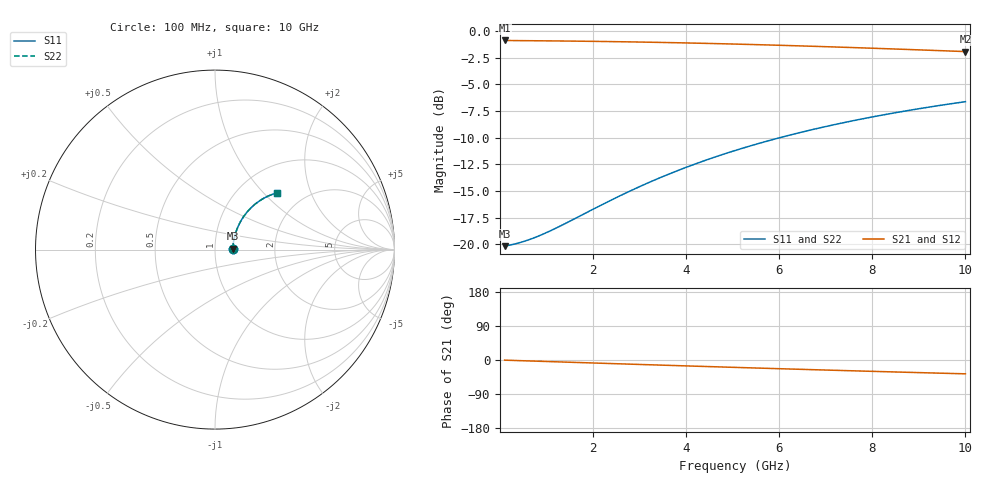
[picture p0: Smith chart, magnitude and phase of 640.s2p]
# Hz S RI R 50.00
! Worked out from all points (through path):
!   100 points, 100 MHz to 10 GHz, reference 50 ohm
!   highest |S21| = -0.90 dB at 100 MHz (marker M1); lowest = -1.9 dB at 10 GHz (marker M2)
!   group delay of S21, straight-line fit = 10.2 ps
!   lowest |S11| = -20.2 dB at 100 MHz (marker M3), VSWR 1.22, Z = 60.9 + j0.572 ohm
!   |S11| at or under -10 dB: start of sweep to 6.018 GHz
!   |S22| runs from -20.2 to -6.6 dB; largest |S21 - S12| = 0
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1e8  0.098 0.00465  0.902 -0.00623  0.902 -0.00623  0.098 0.00465
3e8  0.0992 0.0139  0.9008 -0.0187  0.9008 -0.0187  0.0992 0.0139
5e8  0.1004 0.0231  0.8996 -0.0311  0.8996 -0.0311  0.1004 0.0231
8e8  0.1023 0.0369  0.8976 -0.0496  0.8976 -0.0496  0.1023 0.0369
1e9  0.1038 0.046  0.8961 -0.0618  0.8961 -0.0618  0.1038 0.046
1.2e9  0.1055 0.0551  0.8943 -0.0741  0.8943 -0.0741  0.1055 0.0551
1.8e9  0.1119 0.0819  0.8876 -0.1103  0.8876 -0.1103  0.1119 0.0819
2.3e9  0.1188 0.1036  0.8805 -0.14  0.8805 -0.14  0.1188 0.1036
2.7e9  0.1252 0.1205  0.8738 -0.1633  0.8738 -0.1633  0.1252 0.1205
3.1e9  0.1325 0.137  0.8662 -0.1861  0.8662 -0.1861  0.1325 0.137
3.4e9  0.1385 0.149  0.8599 -0.2029  0.8599 -0.2029  0.1385 0.149
3.8e9  0.1472 0.1646  0.8509 -0.2248  0.8509 -0.2248  0.1472 0.1646
4.2e9  0.1566 0.1795  0.841 -0.2461  0.841 -0.2461  0.1566 0.1795
4.6e9  0.1667 0.1938  0.8305 -0.2668  0.8305 -0.2668  0.1667 0.1938
5.1e9  0.1802 0.2107  0.8163 -0.2917  0.8163 -0.2917  0.1802 0.2107
5.5e9  0.1916 0.2235  0.8043 -0.3109  0.8043 -0.3109  0.1916 0.2235
5.9e9  0.2035 0.2355  0.7918 -0.3294  0.7918 -0.3294  0.2035 0.2355
6.7e9  0.2288 0.2574  0.7652 -0.364  0.7652 -0.364  0.2288 0.2574
7.5e9  0.2554 0.2761  0.7371 -0.3957  0.7371 -0.3957  0.2554 0.2761
8.4e9  0.2865 0.2936  0.704 -0.4278  0.704 -0.4278  0.2865 0.2936
9.2e9  0.3147 0.3059  0.6738 -0.4532  0.6738 -0.4532  0.3147 0.3059
1e10  0.3432 0.3153  0.6432 -0.4757  0.6432 -0.4757  0.3432 0.3153
